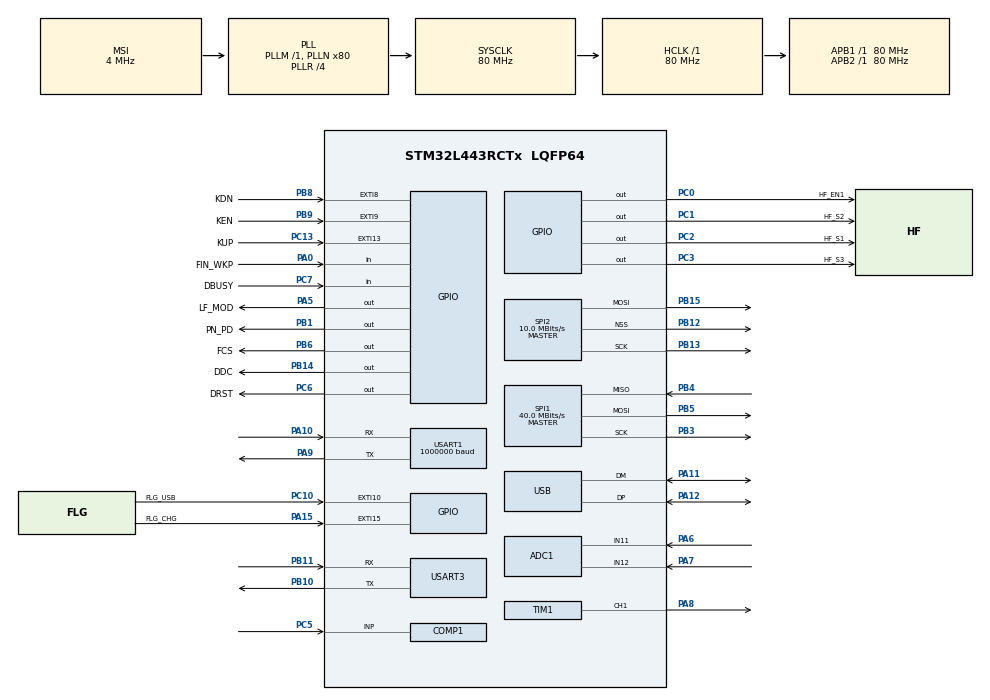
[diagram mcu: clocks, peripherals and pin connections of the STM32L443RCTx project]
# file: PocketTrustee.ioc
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ADC1.Channel-0\#ChannelRegularConversion=ADC_CHANNEL_11
ADC1.Channel-1\#ChannelRegularConversion=ADC_CHANNEL_12
ADC1.Channel-2\#ChannelRegularConversion=ADC_CHANNEL_VREFINT
ADC1.ContinuousConvMode=DISABLE
ADC1.DMAContinuousRequests=DISABLE
ADC1.EOCSelection=ADC_EOC_SEQ_CONV
ADC1.LowPowerAutoWait=DISABLE
ADC1.NbrOfConversion=3
ADC1.NbrOfConversionFlag=1
ADC1.OffsetNumber-0\#ChannelRegularConversion=ADC_OFFSET_NONE
ADC1.OffsetNumber-1\#ChannelRegularConversion=ADC_OFFSET_NONE
ADC1.OffsetNumber-2\#ChannelRegularConversion=ADC_OFFSET_NONE
ADC1.Overrun=ADC_OVR_DATA_OVERWRITTEN
ADC1.Rank-0\#ChannelRegularConversion=1
ADC1.Rank-1\#ChannelRegularConversion=2
ADC1.Rank-2\#ChannelRegularConversion=3
ADC1.SamplingTime-0\#ChannelRegularConversion=ADC_SAMPLETIME_640CYCLES_5
ADC1.SamplingTime-1\#ChannelRegularConversion=ADC_SAMPLETIME_24CYCLES_5
ADC1.SamplingTime-2\#ChannelRegularConversion=ADC_SAMPLETIME_247CYCLES_5
ADC1.master=1
AES.DataType=CRYP_DATATYPE_8B
COMP1.Hysteresis=COMP_HYSTERESIS_HIGH
COMP1.Mode=COMP_POWERMODE_ULTRALOWPOWER
COMP1.TriggerMode=COMP_TRIGGERMODE_IT_RISING_FALLING
CRC.DefaultInitValueUse=DEFAULT_INIT_VALUE_ENABLE
CRC.DefaultPolynomialUse=DEFAULT_POLYNOMIAL_ENABLE
Dma.ADC1.0.Direction=DMA_PERIPH_TO_MEMORY
Dma.ADC1.0.Instance=DMA1_Channel1
Dma.ADC1.0.MemDataAlignment=DMA_MDATAALIGN_HALFWORD
Dma.ADC1.0.MemInc=DMA_MINC_ENABLE
Dma.ADC1.0.Mode=DMA_NORMAL
Dma.ADC1.0.PeriphDataAlignment=DMA_PDATAALIGN_HALFWORD
Dma.ADC1.0.PeriphInc=DMA_PINC_DISABLE
Dma.ADC1.0.Priority=DMA_PRIORITY_LOW
Dma.Request0=ADC1
Dma.Request1=SPI2_TX
Dma.Request2=SPI1_TX
Dma.Request3=SPI1_RX
Dma.Request4=USART3_RX
Dma.Request5=USART3_TX
Dma.SPI1_RX.3.Direction=DMA_PERIPH_TO_MEMORY
Dma.SPI1_RX.3.Instance=DMA2_Channel3
Dma.SPI1_RX.3.MemDataAlignment=DMA_MDATAALIGN_BYTE
Dma.SPI1_RX.3.MemInc=DMA_MINC_ENABLE
Dma.SPI1_RX.3.Mode=DMA_NORMAL
Dma.SPI1_RX.3.PeriphDataAlignment=DMA_PDATAALIGN_BYTE
Dma.SPI1_RX.3.PeriphInc=DMA_PINC_DISABLE
Dma.SPI1_RX.3.Priority=DMA_PRIORITY_MEDIUM
Dma.SPI1_TX.2.Direction=DMA_MEMORY_TO_PERIPH
Dma.SPI1_TX.2.Instance=DMA2_Channel4
Dma.SPI1_TX.2.MemDataAlignment=DMA_MDATAALIGN_BYTE
Dma.SPI1_TX.2.MemInc=DMA_MINC_ENABLE
Dma.SPI1_TX.2.Mode=DMA_NORMAL
Dma.SPI1_TX.2.PeriphDataAlignment=DMA_PDATAALIGN_BYTE
Dma.SPI1_TX.2.PeriphInc=DMA_PINC_DISABLE
Dma.SPI1_TX.2.Priority=DMA_PRIORITY_MEDIUM
Dma.SPI2_TX.1.Direction=DMA_MEMORY_TO_PERIPH
Dma.SPI2_TX.1.Instance=DMA1_Channel5
Dma.SPI2_TX.1.MemDataAlignment=DMA_MDATAALIGN_BYTE
Dma.SPI2_TX.1.MemInc=DMA_MINC_ENABLE
Dma.SPI2_TX.1.Mode=DMA_NORMAL
Dma.SPI2_TX.1.PeriphDataAlignment=DMA_PDATAALIGN_BYTE
Dma.SPI2_TX.1.PeriphInc=DMA_PINC_DISABLE
Dma.SPI2_TX.1.Priority=DMA_PRIORITY_MEDIUM
Dma.USART3_RX.4.Direction=DMA_PERIPH_TO_MEMORY
Dma.USART3_RX.4.Instance=DMA1_Channel3
Dma.USART3_RX.4.MemDataAlignment=DMA_MDATAALIGN_BYTE
Dma.USART3_RX.4.MemInc=DMA_MINC_ENABLE
Dma.USART3_RX.4.Mode=DMA_NORMAL
Dma.USART3_RX.4.PeriphDataAlignment=DMA_PDATAALIGN_BYTE
Dma.USART3_RX.4.PeriphInc=DMA_PINC_DISABLE
Dma.USART3_RX.4.Priority=DMA_PRIORITY_HIGH
Dma.USART3_TX.5.Direction=DMA_MEMORY_TO_PERIPH
Dma.USART3_TX.5.Instance=DMA1_Channel2
Dma.USART3_TX.5.MemDataAlignment=DMA_MDATAALIGN_BYTE
Dma.USART3_TX.5.MemInc=DMA_MINC_ENABLE
Dma.USART3_TX.5.Mode=DMA_NORMAL
Dma.USART3_TX.5.PeriphDataAlignment=DMA_PDATAALIGN_BYTE
Dma.USART3_TX.5.PeriphInc=DMA_PINC_DISABLE
Dma.USART3_TX.5.Priority=DMA_PRIORITY_HIGH
FREERTOS.HEAP_NUMBER=5
FREERTOS.INCLUDE_eTaskGetState=1
FREERTOS.INCLUDE_uxTaskPriorityGet=0
FREERTOS.INCLUDE_vTaskPrioritySet=0
FREERTOS.INCLUDE_xTaskGetSchedulerState=1
FREERTOS.INCLUDE_xTaskResumeFromISR=0
FREERTOS.INCLUDE_xTimerPendFunctionCall=0
FREERTOS.MEMORY_ALLOCATION=2
FREERTOS.Tasks01=defaultTask,0,1024,StartDefaultTask,As weak,NULL,Static,defaultTaskBuffer,defaultTaskControlBlock;manager_task,0,2048,StartManagerTask,As weak,NULL,Static,manager_taskBuffer,manager_taskControlBlock;IdealTask,-2,128,StartIdealTask,As weak,NULL,Static,IdealTaskBuffer,IdealTaskControlBlock
FREERTOS.configENABLE_BACKWARD_COMPATIBILITY=0
FREERTOS.configENABLE_FPU=1
FREERTOS.configTOTAL_HEAP_SIZE=24576
FREERTOS.configUSE_TICKLESS_IDLE=2
FREERTOS.configUSE_TIMERS=0
LPTIM1.ClockPrescaler=LPTIM_PRESCALER_DIV128
LPTIM2.ClockPrescaler=LPTIM_PRESCALER_DIV128
Mcu.Family=STM32L4
Mcu.Name=STM32L443RCTx
Mcu.Package=LQFP64
NVIC.COMP_IRQn=true\:7\:0\:true\:false\:true\:true\:false\:true\:true
NVIC.DMA1_Channel1_IRQn=true\:5\:0\:false\:false\:true\:true\:false\:true\:true
NVIC.DMA1_Channel2_IRQn=true\:5\:0\:false\:false\:true\:true\:false\:true\:true
NVIC.DMA1_Channel3_IRQn=true\:5\:0\:false\:false\:true\:true\:false\:true\:true
NVIC.DMA1_Channel5_IRQn=true\:5\:0\:false\:false\:true\:true\:false\:true\:true
NVIC.DMA2_Channel3_IRQn=true\:5\:0\:false\:false\:true\:true\:false\:true\:true
NVIC.DMA2_Channel4_IRQn=true\:5\:0\:false\:false\:true\:true\:false\:true\:true
NVIC.EXTI15_10_IRQn=true\:9\:0\:true\:false\:true\:true\:true\:true\:true
NVIC.EXTI9_5_IRQn=true\:10\:0\:true\:false\:true\:true\:true\:true\:true
NVIC.LPTIM1_IRQn=true\:5\:0\:false\:false\:true\:true\:true\:true\:true
NVIC.PriorityGroup=NVIC_PRIORITYGROUP_4
NVIC.TIM1_BRK_TIM15_IRQn=true\:5\:0\:false\:false\:true\:false\:false\:true\:true
NVIC.TIM1_UP_TIM16_IRQn=true\:12\:0\:true\:false\:true\:true\:true\:true\:true
NVIC.USART3_IRQn=true\:8\:0\:true\:false\:true\:true\:true\:true\:true
NVIC.USB_IRQn=true\:6\:0\:true\:false\:true\:true\:true\:true\:true
PA0.GPIO_Label=FIN_WKP
PA0.GPIO_PuPd=GPIO_PULLDOWN
PA0.Signal=GPIO_Input
PA10.Mode=Asynchronous
PA10.Signal=USART1_RX
PA11.Mode=Device
PA11.Signal=USB_DM
PA12.Mode=Device
PA12.Signal=USB_DP
PA13\ (JTMS-SWDIO).Mode=Serial_Wire
PA13\ (JTMS-SWDIO).Signal=SYS_JTMS-SWDIO
PA14\ (JTCK-SWCLK).Mode=Serial_Wire
PA14\ (JTCK-SWCLK).Signal=SYS_JTCK-SWCLK
PA15\ (JTDI).GPIO_Label=FLG_CHG
PA15\ (JTDI).GPIO_ModeDefaultEXTI=GPIO_MODE_IT_RISING_FALLING
PA15\ (JTDI).GPIO_PuPd=GPIO_PULLUP
PA15\ (JTDI).Signal=GPXTI15
PA5.GPIO_Label=LF_MOD
PA5.GPIO_Speed=GPIO_SPEED_FREQ_MEDIUM
PA5.Signal=GPIO_Output
PA6.Signal=ADCx_IN11
PA7.Signal=ADCx_IN12
PA8.Signal=S_TIM1_CH1
PA9.Mode=Asynchronous
PA9.Signal=USART1_TX
PB1.GPIO_Label=PN_PD
PB1.Signal=GPIO_Output
PB10.Mode=Asynchronous
PB10.Signal=USART3_TX
PB11.Mode=Asynchronous
PB11.Signal=USART3_RX
PB12.Mode=NSS_Signal_Hard_Output
PB12.Signal=SPI2_NSS
PB13.Mode=TX_Only_Simplex_Unidirect_Master
PB13.Signal=SPI2_SCK
PB14.GPIO_Label=DDC
PB14.Signal=GPIO_Output
PB15.Mode=TX_Only_Simplex_Unidirect_Master
PB15.Signal=SPI2_MOSI
PB3\ (JTDO-TRACESWO).Mode=Full_Duplex_Master
PB3\ (JTDO-TRACESWO).Signal=SPI1_SCK
PB4\ (NJTRST).Mode=Full_Duplex_Master
PB4\ (NJTRST).Signal=SPI1_MISO
PB5.Mode=Full_Duplex_Master
PB5.Signal=SPI1_MOSI
PB6.GPIO_Label=FCS
PB6.GPIO_Speed=GPIO_SPEED_FREQ_VERY_HIGH
PB6.PinState=GPIO_PIN_SET
PB6.Signal=GPIO_Output
PB8.GPIO_Label=KDN
PB8.GPIO_ModeDefaultEXTI=GPIO_MODE_IT_FALLING
PB8.Signal=GPXTI8
PB9.GPIO_Label=KEN
PB9.GPIO_ModeDefaultEXTI=GPIO_MODE_IT_FALLING
PB9.Signal=GPXTI9
PC0.GPIO_Label=HF_EN1
PC0.PinState=GPIO_PIN_SET
PC0.Signal=GPIO_Output
PC1.GPIO_Label=HF_S2
PC1.Signal=GPIO_Output
PC10.GPIO_Label=FLG_USB
PC10.GPIO_ModeDefaultEXTI=GPIO_MODE_IT_RISING_FALLING
PC10.GPIO_PuPd=GPIO_PULLDOWN
PC10.Signal=GPXTI10
PC13.GPIO_Label=KUP
PC13.GPIO_ModeDefaultEXTI=GPIO_MODE_IT_FALLING
PC13.Signal=GPXTI13
PC14-OSC32_IN\ (PC14).Mode=LSE-External-Oscillator
PC14-OSC32_IN\ (PC14).Signal=RCC_OSC32_IN
PC15-OSC32_OUT\ (PC15).Mode=LSE-External-Oscillator
PC15-OSC32_OUT\ (PC15).Signal=RCC_OSC32_OUT
PC2.GPIO_Label=HF_S1
PC2.Signal=GPIO_Output
PC3.GPIO_Label=HF_S3
PC3.Signal=GPIO_Output
PC5.Mode=INP
PC5.Signal=COMP1_INP
PC6.GPIO_Label=DRST
PC6.Signal=GPIO_Output
PC7.GPIO_Label=DBUSY
PC7.Signal=GPIO_Input
ProjectManager.HeapSize=0x0
ProjectManager.StackSize=0x400
ProjectManager.TargetToolchain=CMake
RCC.ADCCLockSelection=RCC_ADCCLKSOURCE_SYSCLK
RCC.ADCFreq_Value=80000000
RCC.AHBFreq_Value=80000000
RCC.APB1Freq_Value=80000000
RCC.APB1TimFreq_Value=80000000
RCC.APB2Freq_Value=80000000
RCC.APB2TimFreq_Value=80000000
RCC.CK48CLockSelection=RCC_USBCLKSOURCE_HSI48
RCC.CortexFreq_Value=10000000
RCC.Cortex_Div=SYSTICK_CLKSOURCE_HCLK_DIV8
RCC.HCLKFreq_Value=80000000
RCC.HSE_VALUE=8000000
RCC.HSI48_VALUE=48000000
RCC.HSI_VALUE=16000000
RCC.LPTIM1CLockSelection=RCC_LPTIM1CLKSOURCE_LSE
RCC.MSI_VALUE=4000000
RCC.PLLN=80
RCC.PLLQ=RCC_PLLQ_DIV8
RCC.PLLR=RCC_PLLR_DIV4
RCC.PLLSAI1Q=RCC_PLLQ_DIV8
RCC.PLLSAI1R=RCC_PLLR_DIV8
RCC.RTCClockSelection=RCC_RTCCLKSOURCE_LSE
RCC.SYSCLKFreq_VALUE=80000000
RCC.SYSCLKSource=RCC_SYSCLKSOURCE_PLLCLK
RCC.USBFreq_Value=48000000
RCC.VCOOutputFreq_Value=320000000
SH.ADCx_IN11.0=ADC1_IN11,IN11-Single-Ended
SH.ADCx_IN12.0=ADC1_IN12,IN12-Single-Ended
SH.S_TIM1_CH1.0=TIM1_CH1,Output Compare1 CH1
SPI1.CalculateBaudRate=40.0 MBits/s
SPI1.DataSize=SPI_DATASIZE_8BIT
SPI1.Direction=SPI_DIRECTION_2LINES
SPI1.Mode=SPI_MODE_MASTER
SPI1.VirtualType=VM_MASTER
SPI2.BaudRatePrescaler=SPI_BAUDRATEPRESCALER_8
SPI2.CalculateBaudRate=10.0 MBits/s
SPI2.DataSize=SPI_DATASIZE_8BIT
SPI2.Direction=SPI_DIRECTION_2LINES
SPI2.Mode=SPI_MODE_MASTER
SPI2.VirtualNSS=VM_NSSHARD
SPI2.VirtualType=VM_MASTER
TIM1.AutoReloadPreload=TIM_AUTORELOAD_PRELOAD_DISABLE
TIM1.Channel-Output\ Compare1\ CH1=TIM_CHANNEL_1
TIM1.OCMode_1=TIM_OCMODE_TOGGLE
TIM1.Period=15
TIM1.Prescaler=19
TIM16.Period=9
TIM16.Prescaler=2047
USART1.BaudRate=1000000
USART1.VirtualMode-Asynchronous=VM_ASYNC
USART3.VirtualMode-Asynchronous=VM_ASYNC
VP_ADC1_Vref_Input.Mode=IN-Vrefint
VP_AES_VS_AES.Mode=AES_Activate
VP_COMP1_VS_DACOUT1.Mode=INM_DACOUT1
VP_CRC_VS_CRC.Mode=CRC_Activate
VP_DAC1_VS_DACI1.Mode=DAC_OUT1_Int
VP_FREERTOS_VS_CMSIS_V1.Mode=CMSIS_V1
VP_LPTIM1_VS_LPTIM_counterModeInternalClock.Mode=Counts__internal_clock_event_00
VP_LPTIM2_VS_LPTIM_counterModeInternalClock.Mode=Counts__internal_clock_event_00
VP_RNG_VS_RNG.Mode=RNG_Activate
VP_RTC_VS_RTC_Activate.Mode=RTC_Enabled
VP_SYS_VS_LPOM.Mode=PowerOptimisation
VP_TIM16_VS_ClockSourceINT.Mode=Enable_Timer
VP_TIM1_VS_ClockSourceINT.Mode=Internal
board=custom

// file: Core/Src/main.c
/* USER CODE BEGIN Header */
/**
  ******************************************************************************
  * @file           : main.c
  * @brief          : Main program body
  ******************************************************************************
  * @attention
  *
  * Copyright (c) 2025 STMicroelectronics.
  * All rights reserved.
  *
  * This software is licensed under terms that can be found in the LICENSE file
  * in the root directory of this software component.
  * If no LICENSE file comes with this software, it is provided AS-IS.
  *
  ******************************************************************************
  */
/* USER CODE END Header */
#include "main.h"
#include "cmsis_os.h"
#include "adc.h"
#include "aes.h"
#include "comp.h"
#include "crc.h"
#include "dac.h"
#include "dma.h"
#include "lptim.h"
#include "rng.h"
#include "rtc.h"
#include "spi.h"
#include "tim.h"
#include "usart.h"
#include "usb.h"
#include "gpio.h"

void SystemClock_Config(void);
void MX_FREERTOS_Init(void);
/* USER CODE BEGIN PFP */
int __io_putchar(int ch) {
  LL_USART_TransmitData8(USART1, ch);
  while (!LL_USART_IsActiveFlag_TC(USART1)) {}
  LL_USART_ClearFlag_TC(USART1);
  return 0;
}
/* USER CODE END PFP */

/* USER CODE BEGIN 0 */
void MPU_Config();
/* USER CODE END 0 */

int main(void)
{

  /* MCU Configuration--------------------------------------------------------*/

  /* Reset of all peripherals, Initializes the Flash interface and the Systick. */
  HAL_Init();

  /* Configure the system clock */
  SystemClock_Config();

  /* Initialize all configured peripherals */
  MX_GPIO_Init();
  MX_DMA_Init();
  MX_ADC1_Init();
  MX_AES_Init();
  MX_COMP1_Init();
  MX_DAC1_Init();
  MX_RNG_Init();
  MX_RTC_Init();
  MX_USART1_UART_Init();
  MX_USB_PCD_Init();
  MX_USART3_UART_Init();
  MX_SPI1_Init();
  MX_SPI2_Init();
  MX_TIM1_Init();
  MX_LPTIM2_Init();
  MX_TIM16_Init();
  MX_LPTIM1_Init();
  MX_CRC_Init();
  /* USER CODE BEGIN 2 */
  // MPU_Config();
  /* USER CODE END 2 */

  /* Call init function for freertos objects (in cmsis_os2.c) */
  MX_FREERTOS_Init();

  /* Start scheduler */
  osKernelStart();

  /* We should never get here as control is now taken by the scheduler */

  /* Infinite loop */
  while (1)
  {

  }
}

void SystemClock_Config(void)
{
  RCC_OscInitTypeDef RCC_OscInitStruct = {0};
  RCC_ClkInitTypeDef RCC_ClkInitStruct = {0};

  /** Configure the main internal regulator output voltage
  */
  if (HAL_PWREx_ControlVoltageScaling(PWR_REGULATOR_VOLTAGE_SCALE1) != HAL_OK)
  {
    Error_Handler();
  }

  /** Configure LSE Drive Capability
  */
  HAL_PWR_EnableBkUpAccess();
  __HAL_RCC_LSEDRIVE_CONFIG(RCC_LSEDRIVE_LOW);

  /** Initializes the RCC Oscillators according to the specified parameters
  * in the RCC_OscInitTypeDef structure.
  */
  RCC_OscInitStruct.OscillatorType = RCC_OSCILLATORTYPE_HSI48|RCC_OSCILLATORTYPE_LSE
                              |RCC_OSCILLATORTYPE_MSI;
  RCC_OscInitStruct.LSEState = RCC_LSE_ON;
  RCC_OscInitStruct.HSI48State = RCC_HSI48_ON;
  RCC_OscInitStruct.MSIState = RCC_MSI_ON;
  RCC_OscInitStruct.MSICalibrationValue = 0;
  RCC_OscInitStruct.MSIClockRange = RCC_MSIRANGE_6;
  RCC_OscInitStruct.PLL.PLLState = RCC_PLL_ON;
  RCC_OscInitStruct.PLL.PLLSource = RCC_PLLSOURCE_MSI;
  RCC_OscInitStruct.PLL.PLLM = 1;
  RCC_OscInitStruct.PLL.PLLN = 80;
  RCC_OscInitStruct.PLL.PLLP = RCC_PLLP_DIV7;
  RCC_OscInitStruct.PLL.PLLQ = RCC_PLLQ_DIV8;
  RCC_OscInitStruct.PLL.PLLR = RCC_PLLR_DIV4;
  if (HAL_RCC_OscConfig(&RCC_OscInitStruct) != HAL_OK)
  {
    Error_Handler();
  }

  /** Initializes the CPU, AHB and APB buses clocks
  */
  RCC_ClkInitStruct.ClockType = RCC_CLOCKTYPE_HCLK|RCC_CLOCKTYPE_SYSCLK
                              |RCC_CLOCKTYPE_PCLK1|RCC_CLOCKTYPE_PCLK2;
  RCC_ClkInitStruct.SYSCLKSource = RCC_SYSCLKSOURCE_PLLCLK;
  RCC_ClkInitStruct.AHBCLKDivider = RCC_SYSCLK_DIV1;
  RCC_ClkInitStruct.APB1CLKDivider = RCC_HCLK_DIV1;
  RCC_ClkInitStruct.APB2CLKDivider = RCC_HCLK_DIV1;

  if (HAL_RCC_ClockConfig(&RCC_ClkInitStruct, FLASH_LATENCY_4) != HAL_OK)
  {
    Error_Handler();
  }

  /** Enable MSI Auto calibration
  */
  HAL_RCCEx_EnableMSIPLLMode();
}

/* USER CODE BEGIN 4 */
void MPU_Config()
{
  if (MPU->TYPE == 0) return;
  int nRegion = MPU->TYPE >> 8 & 0xFF;
  // Disable executable for SRAM1 and SRAM2
  MPU_Region_InitTypeDef configs[] = {
      {
          .Enable = MPU_REGION_ENABLE,
          .BaseAddress = SRAM1_BASE,
          .Size = MPU_REGION_SIZE_64KB,
          .SubRegionDisable = 0,
          .TypeExtField = MPU_TEX_LEVEL0,
          .AccessPermission = MPU_REGION_FULL_ACCESS,
          .DisableExec = MPU_INSTRUCTION_ACCESS_DISABLE,
          .IsShareable = MPU_ACCESS_SHAREABLE,
          .IsCacheable = MPU_ACCESS_CACHEABLE,
          .IsBufferable = MPU_ACCESS_NOT_BUFFERABLE,
      },
    {
          .Enable = MPU_REGION_ENABLE,
          .BaseAddress = SRAM2_BASE,
          .Size = MPU_REGION_SIZE_16KB,
          .SubRegionDisable = 0,
          .TypeExtField = MPU_TEX_LEVEL0,
          .AccessPermission = MPU_REGION_FULL_ACCESS,
          .DisableExec = MPU_INSTRUCTION_ACCESS_DISABLE,
          .IsShareable = MPU_ACCESS_SHAREABLE,
          .IsCacheable = MPU_ACCESS_CACHEABLE,
          .IsBufferable = MPU_ACCESS_NOT_BUFFERABLE,
        },
      {
          .Enable = MPU_REGION_ENABLE,
          .BaseAddress = FLASH_BASE,
          .Size = MPU_REGION_SIZE_256KB,
          .SubRegionDisable = 0,
          .TypeExtField = MPU_TEX_LEVEL0,
          .AccessPermission = MPU_REGION_FULL_ACCESS,
          .DisableExec = MPU_INSTRUCTION_ACCESS_ENABLE,
          .IsShareable = MPU_ACCESS_NOT_SHAREABLE,
          .IsCacheable = MPU_ACCESS_CACHEABLE,
          .IsBufferable = MPU_ACCESS_NOT_BUFFERABLE,
      },
      {
          .Enable = MPU_REGION_ENABLE,
          .BaseAddress = PERIPH_BASE,
          .Size = MPU_REGION_SIZE_512MB,
          .SubRegionDisable = 0,
          .TypeExtField = MPU_TEX_LEVEL0,
          .AccessPermission = MPU_REGION_FULL_ACCESS,
          .DisableExec = MPU_INSTRUCTION_ACCESS_DISABLE,
          .IsShareable = MPU_ACCESS_SHAREABLE,
          .IsCacheable = MPU_ACCESS_NOT_CACHEABLE,
          .IsBufferable = MPU_ACCESS_BUFFERABLE,
      }
  };
  HAL_MPU_Disable();
  for (int i = 0; i < nRegion; i++) {
    if (i < sizeof(configs) / sizeof(configs[0])) {
      configs[i].Number = i;
      HAL_MPU_ConfigRegion(configs + i);
    } else {
      MPU->RNR = i;
      MPU->RBAR = 0;
      MPU->RASR = 0;
    }
  }
  SCB->SHCSR |= SCB_SHCSR_MEMFAULTENA_Msk;
  SCB->SHCSR |= SCB_SHCSR_BUSFAULTENA_Msk;
  NVIC_SetPriority(MemoryManagement_IRQn, -1);
  NVIC_SetPriority(BusFault_IRQn, -1);

  HAL_MPU_Enable(0);
}
/* USER CODE END 4 */

void Error_Handler(void)
{
  __disable_irq();
  while (1)
  {
  }
}

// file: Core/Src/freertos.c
/* USER CODE BEGIN Header */
/**
  ******************************************************************************
  * File Name          : freertos.c
  * Description        : Code for freertos applications
  ******************************************************************************
  * @attention
  *
  * Copyright (c) 2025 STMicroelectronics.
  * All rights reserved.
  *
  * This software is licensed under terms that can be found in the LICENSE file
  * in the root directory of this software component.
  * If no LICENSE file comes with this software, it is provided AS-IS.
  *
  ******************************************************************************
  */
/* USER CODE END Header */

#include "FreeRTOS.h"
#include "task.h"
#include "main.h"
#include "cmsis_os.h"

osThreadId defaultTaskHandle;
uint32_t defaultTaskBuffer[ 1024 ];
osStaticThreadDef_t defaultTaskControlBlock;
osThreadId manager_taskHandle;
uint32_t manager_taskBuffer[ 2048 ];
osStaticThreadDef_t manager_taskControlBlock;
osThreadId IdealTaskHandle;
uint32_t IdealTaskBuffer[ 128 ];
osStaticThreadDef_t IdealTaskControlBlock;

void StartDefaultTask(void const * argument);
void StartManagerTask(void const * argument);
void StartIdealTask(void const * argument);

void MX_FREERTOS_Init(void); /* (MISRA C 2004 rule 8.1) */

/* GetIdleTaskMemory prototype (linked to static allocation support) */
void vApplicationGetIdleTaskMemory( StaticTask_t **ppxIdleTaskTCBBuffer, StackType_t **ppxIdleTaskStackBuffer, uint32_t *pulIdleTaskStackSize );

/* USER CODE BEGIN VPORT_SUPPORT_TICKS_AND_SLEEP */
__weak void vPortSuppressTicksAndSleep( TickType_t xExpectedIdleTime )
{
  // Generated when configUSE_TICKLESS_IDLE == 2.
  // Function called in tasks.c (in portTASK_FUNCTION).
  // TO BE COMPLETED or TO BE REPLACED by a user one, overriding that weak one.
}
/* USER CODE END VPORT_SUPPORT_TICKS_AND_SLEEP */

/* USER CODE BEGIN GET_IDLE_TASK_MEMORY */
static StaticTask_t xIdleTaskTCBBuffer;
static StackType_t xIdleStack[configMINIMAL_STACK_SIZE];

void vApplicationGetIdleTaskMemory( StaticTask_t **ppxIdleTaskTCBBuffer, StackType_t **ppxIdleTaskStackBuffer, uint32_t *pulIdleTaskStackSize )
{
  *ppxIdleTaskTCBBuffer = &xIdleTaskTCBBuffer;
  *ppxIdleTaskStackBuffer = &xIdleStack[0];
  *pulIdleTaskStackSize = configMINIMAL_STACK_SIZE;
  /* place for user code */
}
/* USER CODE END GET_IDLE_TASK_MEMORY */

void MX_FREERTOS_Init(void) {

  /* Create the thread(s) */
  /* definition and creation of defaultTask */
  osThreadStaticDef(defaultTask, StartDefaultTask, osPriorityNormal, 0, 1024, defaultTaskBuffer, &defaultTaskControlBlock);
  defaultTaskHandle = osThreadCreate(osThread(defaultTask), NULL);

  /* definition and creation of manager_task */
  osThreadStaticDef(manager_task, StartManagerTask, osPriorityNormal, 0, 2048, manager_taskBuffer, &manager_taskControlBlock);
  manager_taskHandle = osThreadCreate(osThread(manager_task), NULL);

  /* definition and creation of IdealTask */
  osThreadStaticDef(IdealTask, StartIdealTask, osPriorityLow, 0, 128, IdealTaskBuffer, &IdealTaskControlBlock);
  IdealTaskHandle = osThreadCreate(osThread(IdealTask), NULL);

  /* USER CODE BEGIN RTOS_THREADS */
  /* add threads, ... */
  osThreadSuspend(manager_taskHandle);
  osThreadSuspend(IdealTaskHandle);
  /* USER CODE END RTOS_THREADS */

}

__weak void StartDefaultTask(void const * argument)
{
  for(;;)
  {
    osDelay(1);
  }
}

__weak void StartManagerTask(void const * argument)
{
  for(;;)
  {
    osDelay(1);
  }
}

__weak void StartIdealTask(void const * argument)
{
  for(;;)
  {
    osDelay(1);
  }
}
